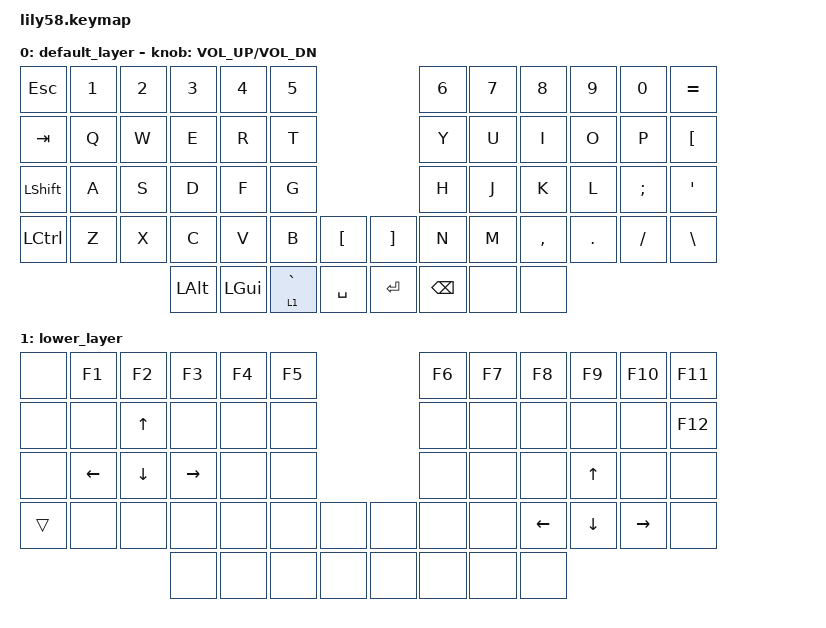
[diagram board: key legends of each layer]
/*
 * Copyright (c) 2020 The ZMK Contributors
 *
 * SPDX-License-Identifier: MIT
 */

#include <behaviors.dtsi>
#include <dt-bindings/zmk/keys.h>

/ {
    combos { compatible = "zmk,combos"; };

    behaviors {
        ss_hs_modmorph: ss_hs_modmorph {
            compatible = "zmk,behavior-mod-morph";
            label = "SS_HS_MODMORPH";
            bindings = <&kp M>, <&kp RIGHT_BRACKET>;

            #binding-cells = <0>;
            mods = <(MOD_LSFT|MOD_RSFT)>;
        };

        kh_hs_tapdance: kh_hs_tapdance {
            compatible = "zmk,behavior-tap-dance";
            label = "KH_HS_TAPDANCE";
            #binding-cells = <0>;
            tapping-term-ms = <200>;
            bindings = <&kp LEFT_BRACKET>, <&kp RIGHT_BRACKET>;
        };

        hrm: hrm {
            compatible = "zmk,behavior-hold-tap";
            #binding-cells = <2>;
            flavor = "tap-preferred";
            tapping-term-ms = <200>;
            quick-tap-ms = <200>;
            require-prior-idle-ms = <125>;
            bindings = <&kp>, <&kp>;
        };
    };

    keymap {
        compatible = "zmk,keymap";

        default_layer {
            // ------------------------------------------------------------------------------------------------------------
            // |  ESC  |  1  |  2  |  3   |  4   |  5   |                   |  6   |  7    |  8    |  9   |   0   |   `   |
            // |  TAB  |  Q  |  W  |  E   |  R   |  T   |                   |  Y   |  U    |  I    |  O   |   P   |   -   |
            // |  CTRL |  A  |  S  |  D   |  F   |  G   |                   |  H   |  J    |  K    |  L   |   ;   |   '   |
            // | SHIFT |  Z  |  X  |  C   |  V   |  B   |   "["  |  |  "]"  |  N   |  M    |  ,    |  .   |   /   | SHIFT |
            //                     | ALT  | GUI  | LOWER|  SPACE |  | ENTER | RAISE| BSPC  | GUI   |

            bindings = <
&kp ESCAPE        &kp N1  &kp N2  &kp N3    &kp N4    &kp N5                              &kp N6         &kp N7  &kp N8     &kp N9   &kp N0    &kp EQUAL
&kp TAB           &kp Q   &kp W   &kp E     &kp R     &kp T                               &kp Y          &kp U   &kp I      &kp O    &kp P     &kp LBKT
&kp LEFT_SHIFT    &kp A   &kp S   &kp D     &kp F     &kp G                               &kp H          &kp J   &kp K      &kp L    &kp SEMI  &kp SQT
&kp LEFT_CONTROL  &kp Z   &kp X   &kp C     &kp V     &kp B        &kp LBKT     &kp RBKT  &kp N          &kp M   &kp COMMA  &kp DOT  &kp FSLH  &kp BACKSLASH
                                  &kp LALT  &kp LGUI  &lt 1 GRAVE  &kp SPACE    &kp RET   &kp BACKSPACE  &none   &none
            >;

            sensor-bindings = <&inc_dec_kp C_VOL_UP C_VOL_DN>;
        };

        lower_layer {
            // ------------------------------------------------------------------------------------------------------------
            // | BTCLR | BT1 | BT2 |  BT3 |  BT4 |  BT5 |                   |      |       |       |      |       |       |
            // |  F1   |  F2 |  F3 |  F4  |  F5  |  F6  |                   |  F7  |  F8   |  F9   |  F10 |  F11  |  F12  |
            // |   `   |  !  |  @  |  #   |  $   |  %   |                   |  ^   |  &    |  *    |  (   |   )   |   ~   |
            // |       |     |     |      |      |      |        |  |       |      |  _    |  +    |  {   |   }   |  "|"  |
            //                     |      |      |      |        |  |       |      |       |       |

            bindings = <
&none   &kp F1          &kp F2          &kp F3           &kp F4  &kp F5                  &kp F6  &kp F7  &kp F8          &kp F9          &kp F10          &kp F11
&none   &none           &kp UP_ARROW    &none            &none   &none                   &none   &none   &none           &none           &none            &kp F12
&none   &kp LEFT_ARROW  &kp DOWN_ARROW  &kp RIGHT_ARROW  &none   &none                   &none   &none   &none           &kp UP_ARROW    &none            &none
&trans  &none           &none           &none            &none   &none   &none    &none  &none   &none   &kp LEFT_ARROW  &kp DOWN_ARROW  &kp RIGHT_ARROW  &none
                                        &none            &none   &none   &none    &none  &none   &none   &none
            >;
        };
    };
};
